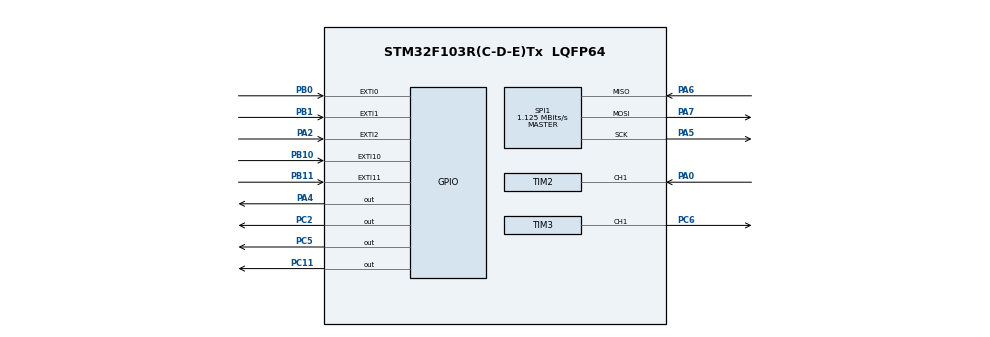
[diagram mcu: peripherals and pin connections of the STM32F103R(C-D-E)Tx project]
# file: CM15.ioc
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Mcu.Family=STM32F1
Mcu.Name=STM32F103R(C-D-E)Tx
Mcu.Package=LQFP64
NVIC.EXTI0_IRQn=true\:0\:0\:false\:false\:true\:true\:true\:true
NVIC.EXTI15_10_IRQn=true\:0\:0\:false\:false\:true\:true\:true\:true
NVIC.EXTI1_IRQn=true\:0\:0\:false\:false\:true\:true\:true\:true
NVIC.EXTI2_IRQn=true\:0\:0\:false\:false\:true\:true\:true\:true
NVIC.PriorityGroup=NVIC_PRIORITYGROUP_4
NVIC.TIM1_UP_IRQn=true\:0\:0\:false\:false\:true\:true\:true\:true
NVIC.TIM2_IRQn=true\:0\:0\:false\:false\:true\:true\:true\:true
PA0-WKUP.Signal=S_TIM2_CH1_ETR
PA10.Signal=USART1_RX
PA13.Mode=Serial_Wire
PA13.Signal=SYS_JTMS-SWDIO
PA14.Mode=Serial_Wire
PA14.Signal=SYS_JTCK-SWCLK
PA2.GPIO_ModeDefaultEXTI=GPIO_MODE_IT_RISING_FALLING
PA2.GPIO_PuPd=GPIO_PULLUP
PA2.Signal=GPXTI2
PA4.Signal=GPIO_Output
PA5.Mode=Full_Duplex_Master
PA5.Signal=SPI1_SCK
PA6.Mode=Full_Duplex_Master
PA6.Signal=SPI1_MISO
PA7.Mode=Full_Duplex_Master
PA7.Signal=SPI1_MOSI
PA9.Signal=USART1_TX
PB0.GPIO_ModeDefaultEXTI=GPIO_MODE_IT_RISING_FALLING
PB0.GPIO_PuPd=GPIO_PULLUP
PB0.Signal=GPXTI0
PB1.GPIO_ModeDefaultEXTI=GPIO_MODE_IT_RISING_FALLING
PB1.GPIO_PuPd=GPIO_PULLUP
PB1.Signal=GPXTI1
PB10.GPIO_ModeDefaultEXTI=GPIO_MODE_IT_RISING_FALLING
PB10.GPIO_PuPd=GPIO_PULLUP
PB10.Signal=GPXTI10
PB11.GPIO_ModeDefaultEXTI=GPIO_MODE_IT_RISING_FALLING
PB11.GPIO_PuPd=GPIO_PULLUP
PB11.Signal=GPXTI11
PC11.Signal=GPIO_Output
PC2.Signal=GPIO_Output
PC5.Signal=GPIO_Output
PC6.GPIO_ModeDefaultPP=GPIO_MODE_AF_PP
PC6.GPIO_Speed=GPIO_SPEED_FREQ_LOW
PC6.Signal=S_TIM3_CH1
PD0-OSC_IN.Mode=HSE-External-Oscillator
PD0-OSC_IN.Signal=RCC_OSC_IN
PD1-OSC_OUT.Mode=HSE-External-Oscillator
PD1-OSC_OUT.Signal=RCC_OSC_OUT
ProjectManager.HeapSize=0x200
ProjectManager.StackSize=0x400
ProjectManager.TargetToolchain=MDK-ARM V5.32
RCC.AHBFreq_Value=72000000
RCC.APB1CLKDivider=RCC_HCLK_DIV2
RCC.APB1Freq_Value=36000000
RCC.APB1TimFreq_Value=72000000
RCC.APB2Freq_Value=72000000
RCC.APB2TimFreq_Value=72000000
RCC.HCLKFreq_Value=72000000
RCC.PLLMUL=RCC_PLL_MUL9
RCC.PLLSourceVirtual=RCC_PLLSOURCE_HSE
RCC.SYSCLKFreq_VALUE=72000000
RCC.SYSCLKSource=RCC_SYSCLKSOURCE_PLLCLK
RCC.USBFreq_Value=72000000
SH.S_TIM2_CH1_ETR.0=TIM2_CH1,Input_Capture1_from_TI1
SH.S_TIM3_CH1.0=TIM3_CH1,PWM Generation1 CH1
SPI1.BaudRatePrescaler=SPI_BAUDRATEPRESCALER_64
SPI1.CalculateBaudRate=1.125 MBits/s
SPI1.Direction=SPI_DIRECTION_2LINES
SPI1.Mode=SPI_MODE_MASTER
SPI1.VirtualType=VM_MASTER
TIM1.AutoReloadPreload=TIM_AUTORELOAD_PRELOAD_ENABLE
TIM1.Period=50000
TIM1.Prescaler=719
TIM1.TIM_MasterOutputTrigger=TIM_TRGO_RESET
TIM1.TIM_MasterSlaveMode=TIM_MASTERSLAVEMODE_DISABLE
TIM2.Channel-Input_Capture1_from_TI1=TIM_CHANNEL_1
TIM2.Prescaler=36
TIM3.Channel-PWM\ Generation1\ CH1=TIM_CHANNEL_1
TIM3.Period=20000
TIM3.Prescaler=0
VP_TIM1_VS_ClockSourceINT.Mode=Internal
VP_TIM2_VS_ClockSourceINT.Mode=Internal
VP_TIM3_VS_ClockSourceINT.Mode=Internal
board=custom

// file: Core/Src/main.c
/* USER CODE BEGIN Header */
/**
  ******************************************************************************
  * @file           : main.c
  * @brief          : Main program body
  ******************************************************************************
  * @attention
  *
  * Copyright (c) 2023 STMicroelectronics.
  * All rights reserved.
  *
  * This software is licensed under terms that can be found in the LICENSE file
  * in the root directory of this software component.
  * If no LICENSE file comes with this software, it is provided AS-IS.
  *
  ******************************************************************************
  */
/* USER CODE END Header */
#include "main.h"
#include "spi.h"
#include "tim.h"
#include "gpio.h"

/* USER CODE BEGIN PD */
#define KSP_DRILL
/* USER CODE END PD */

void SystemClock_Config(void);

/* USER CODE BEGIN 0 */
bool motorSpin = false;
bool openDoor = false;
uint16_t _timer = 10;
uint8_t _cnt = 0;
uint8_t mode = 1;

uint32_t ris = 0;
uint32_t fal = 0;

/* USER CODE END 0 */

int main(void)
{

  /* MCU Configuration--------------------------------------------------------*/

  /* Reset of all peripherals, Initializes the Flash interface and the Systick. */
  LL_APB2_GRP1_EnableClock(LL_APB2_GRP1_PERIPH_AFIO);
  LL_APB1_GRP1_EnableClock(LL_APB1_GRP1_PERIPH_PWR);

  /* System interrupt init*/
  NVIC_SetPriorityGrouping(NVIC_PRIORITYGROUP_4);

  /* SysTick_IRQn interrupt configuration */
  NVIC_SetPriority(SysTick_IRQn, NVIC_EncodePriority(NVIC_GetPriorityGrouping(),15, 0));

  /** NOJTAG: JTAG-DP Disabled and SW-DP Enabled
  */
  LL_GPIO_AF_Remap_SWJ_NOJTAG();

  /* Configure the system clock */
  SystemClock_Config();

  /* Initialize all configured peripherals */
  MX_GPIO_Init();
  MX_SPI1_Init();
  MX_TIM1_Init();
  MX_TIM3_Init();
  MX_TIM2_Init();
  /* USER CODE BEGIN 2 */
  #ifndef KSP_DRILL
  ST7565_Init();
  InitGUI();
  #endif

  #ifdef KSP_DRILL
  uint8_t tx_buf[1000];
  //uint8_t tx_buf[256 * 64 / 2];
  SSD1322_API_init();
  #endif
  /* USER CODE END 2 */

  /* Infinite loop */
  /* USER CODE BEGIN WHILE */
  while (1)
  {
    #ifndef KSP_DRILL
    ShowMainFrame();
    #endif

    #ifdef KSP_DRILL
    set_buffer_size(256, 64);
    fill_buffer(tx_buf, 0);

    LL_mDelay(2000);

    draw_pixel(tx_buf, 10, 10, 1);
    draw_pixel(tx_buf, 15, 15, 5);
    draw_pixel(tx_buf, 20, 20, 9);
    draw_pixel(tx_buf, 25, 25, 15);

    set_buffer_size(256, 64);

    send_buffer_to_OLED(tx_buf, 0, 0);
    LL_mDelay(2000);

    // draw vertical and horizontal lines
    draw_hline(tx_buf, 31, 20, 50, 10);
    draw_vline(tx_buf, 31, 0, 31, 10);

    // send a frame buffer to the display
    send_buffer_to_OLED(tx_buf, 0, 0);
    LL_mDelay(2000);
    #endif
    /* USER CODE END WHILE */

  }
}

void SystemClock_Config(void)
{
  LL_FLASH_SetLatency(LL_FLASH_LATENCY_2);
  while(LL_FLASH_GetLatency()!= LL_FLASH_LATENCY_2)
  {
  }
  LL_RCC_HSE_Enable();

   /* Wait till HSE is ready */
  while(LL_RCC_HSE_IsReady() != 1)
  {

  }
  LL_RCC_PLL_ConfigDomain_SYS(LL_RCC_PLLSOURCE_HSE_DIV_1, LL_RCC_PLL_MUL_9);
  LL_RCC_PLL_Enable();

   /* Wait till PLL is ready */
  while(LL_RCC_PLL_IsReady() != 1)
  {

  }
  LL_RCC_SetAHBPrescaler(LL_RCC_SYSCLK_DIV_1);
  LL_RCC_SetAPB1Prescaler(LL_RCC_APB1_DIV_2);
  LL_RCC_SetAPB2Prescaler(LL_RCC_APB2_DIV_1);
  LL_RCC_SetSysClkSource(LL_RCC_SYS_CLKSOURCE_PLL);

   /* Wait till System clock is ready */
  while(LL_RCC_GetSysClkSource() != LL_RCC_SYS_CLKSOURCE_STATUS_PLL)
  {

  }
  LL_Init1msTick(72000000);
  LL_SetSystemCoreClock(72000000);
}

void Error_Handler(void)
{
  __disable_irq();
  while (1)
  {
  }
}
